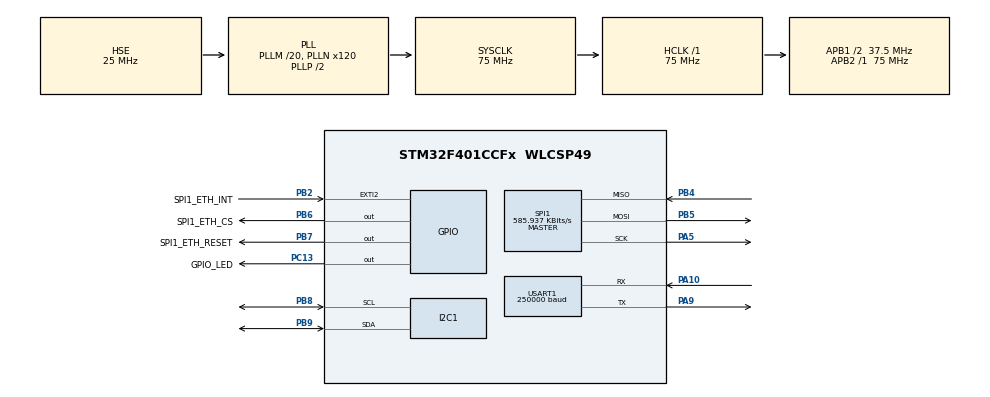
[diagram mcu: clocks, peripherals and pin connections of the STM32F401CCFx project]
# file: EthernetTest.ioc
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FREERTOS.Tasks01=defaultTask,8,1024,StartDefaultTask,Default,NULL,Static,defaultTaskBuffer,defaultTaskControlBlock;task_10ms,48,1024,StartTask_10ms,Default,NULL,Static,task_10msBuffer,task_10msControlBlock;task_Server,24,1024,StartTask_Server,Default,NULL,Static,task_ServerBuffer,task_ServerControlBlock
FREERTOS.configCHECK_FOR_STACK_OVERFLOW=1
FREERTOS.configENABLE_FPU=1
FREERTOS.configGENERATE_RUN_TIME_STATS=1
FREERTOS.configMINIMAL_STACK_SIZE=256
FREERTOS.configTOTAL_HEAP_SIZE=32000
FREERTOS.configUSE_MALLOC_FAILED_HOOK=1
FREERTOS.configUSE_NEWLIB_REENTRANT=1
FREERTOS.configUSE_PREEMPTION=1
I2C1.I2C_Mode=I2C_Fast
Mcu.Family=STM32F4
Mcu.Name=STM32F401CCFx
Mcu.Package=WLCSP49
NVIC.EXTI2_IRQn=true\:13\:0\:true\:false\:true\:true\:true\:true
NVIC.PriorityGroup=NVIC_PRIORITYGROUP_4
NVIC.TIM1_UP_TIM10_IRQn=true\:15\:0\:false\:false\:true\:false\:false\:true
NVIC.TimeBase=TIM1_UP_TIM10_IRQn
NVIC.TimeBaseIP=TIM1
PA10.Mode=Asynchronous
PA10.Signal=USART1_RX
PA13.Mode=Trace_Asynchronous_SW
PA13.Signal=SYS_JTMS-SWDIO
PA14.Mode=Trace_Asynchronous_SW
PA14.Signal=SYS_JTCK-SWCLK
PA5.Mode=Full_Duplex_Master
PA5.Signal=SPI1_SCK
PA9.Mode=Asynchronous
PA9.Signal=USART1_TX
PB2.GPIO_Label=SPI1_ETH_INT
PB2.GPIO_ModeDefaultEXTI=GPIO_MODE_IT_FALLING
PB2.Signal=GPXTI2
PB3.Mode=Trace_Asynchronous_SW
PB3.Signal=SYS_JTDO-SWO
PB4.Mode=Full_Duplex_Master
PB4.Signal=SPI1_MISO
PB5.Mode=Full_Duplex_Master
PB5.Signal=SPI1_MOSI
PB6.GPIO_Label=SPI1_ETH_CS
PB6.GPIO_Speed=GPIO_SPEED_FREQ_VERY_HIGH
PB6.Signal=GPIO_Output
PB7.GPIO_Label=SPI1_ETH_RESET
PB7.GPIO_Speed=GPIO_SPEED_FREQ_VERY_HIGH
PB7.Signal=GPIO_Output
PB8.GPIO_Pu=GPIO_NOPULL
PB8.Mode=I2C
PB8.Signal=I2C1_SCL
PB9.GPIO_Pu=GPIO_NOPULL
PB9.Mode=I2C
PB9.Signal=I2C1_SDA
PC13-ANTI_TAMP.GPIO_Label=GPIO_LED
PC13-ANTI_TAMP.GPIO_ModeDefaultOutputPP=GPIO_MODE_OUTPUT_OD
PC13-ANTI_TAMP.GPIO_PuPd=GPIO_NOPULL
PC13-ANTI_TAMP.Signal=GPIO_Output
PC14-OSC32_IN.Signal=RCC_OSC32_IN
PC15-OSC32_OUT.Signal=RCC_OSC32_OUT
PH0\ -\ OSC_IN.Mode=HSE-External-Oscillator
PH0\ -\ OSC_IN.Signal=RCC_OSC_IN
PH1\ -\ OSC_OUT.Mode=HSE-External-Oscillator
PH1\ -\ OSC_OUT.Signal=RCC_OSC_OUT
ProjectManager.HeapSize=0x200
ProjectManager.StackSize=0x400
ProjectManager.TargetToolchain=STM32CubeIDE
RCC.48MHZClocksFreq_Value=30000000
RCC.AHBFreq_Value=75000000
RCC.APB1CLKDivider=RCC_HCLK_DIV2
RCC.APB1Freq_Value=37500000
RCC.APB1TimFreq_Value=75000000
RCC.APB2Freq_Value=75000000
RCC.APB2TimFreq_Value=75000000
RCC.CortexFreq_Value=75000000
RCC.HCLKFreq_Value=75000000
RCC.HSE_VALUE=25000000
RCC.HSI_VALUE=16000000
RCC.LSE_VALUE=32768
RCC.PLLM=20
RCC.PLLN=120
RCC.PLLQ=5
RCC.PLLSourceVirtual=RCC_PLLSOURCE_HSE
RCC.SYSCLKFreq_VALUE=75000000
RCC.SYSCLKSource=RCC_SYSCLKSOURCE_PLLCLK
RCC.VCOOutputFreq_Value=150000000
SPI1.BaudRatePrescaler=SPI_BAUDRATEPRESCALER_128
SPI1.CalculateBaudRate=585.937 KBits/s
SPI1.Direction=SPI_DIRECTION_2LINES
SPI1.Mode=SPI_MODE_MASTER
SPI1.VirtualType=VM_MASTER
TIM11.Prescaler=1600-1
USART1.BaudRate=250000
USART1.VirtualMode=VM_ASYNC
VP_FREERTOS_VS_CMSIS_V2.Mode=CMSIS_V2
VP_SYS_VS_tim1.Mode=TIM1
VP_TIM11_VS_ClockSourceINT.Mode=Enable_Timer
board=custom

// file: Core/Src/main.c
/* USER CODE BEGIN Header */
/**
 ******************************************************************************
 * @file           : main.c
 * @brief          : Main program body
 ******************************************************************************
 * @attention
 *
 * Copyright (c) 2021 STMicroelectronics.
 * All rights reserved.
 *
 * This software is licensed under terms that can be found in the LICENSE file
 * in the root directory of this software component.
 * If no LICENSE file comes with this software, it is provided AS-IS.
 *
 ******************************************************************************
 */
/* USER CODE END Header */
#include "main.h"
#include "cmsis_os.h"

/* USER CODE BEGIN Includes */
#include "server.h"
#include "mpu60x0.h"
#include "fusion.h"
#include "settings.h"
#include "eeprom.h"
#include "statusLED.h"
#include "shutdown.h"
#include "w5500_inf.h"

/* USER CODE END Includes */

typedef StaticTask_t osStaticThreadDef_t;

I2C_HandleTypeDef hi2c1;

SPI_HandleTypeDef hspi1;

TIM_HandleTypeDef htim11;

UART_HandleTypeDef huart1;

/* Definitions for defaultTask */
osThreadId_t defaultTaskHandle;
uint32_t defaultTaskBuffer[ 1024 ];
osStaticThreadDef_t defaultTaskControlBlock;
const osThreadAttr_t defaultTask_attributes = {
  .name = "defaultTask",
  .cb_mem = &defaultTaskControlBlock,
  .cb_size = sizeof(defaultTaskControlBlock),
  .stack_mem = &defaultTaskBuffer[0],
  .stack_size = sizeof(defaultTaskBuffer),
  .priority = (osPriority_t) osPriorityLow,
};
/* Definitions for task_10ms */
osThreadId_t task_10msHandle;
uint32_t task_10msBuffer[ 1024 ];
osStaticThreadDef_t task_10msControlBlock;
const osThreadAttr_t task_10ms_attributes = {
  .name = "task_10ms",
  .cb_mem = &task_10msControlBlock,
  .cb_size = sizeof(task_10msControlBlock),
  .stack_mem = &task_10msBuffer[0],
  .stack_size = sizeof(task_10msBuffer),
  .priority = (osPriority_t) osPriorityRealtime,
};
/* Definitions for task_Server */
osThreadId_t task_ServerHandle;
uint32_t task_ServerBuffer[ 1024 ];
osStaticThreadDef_t task_ServerControlBlock;
const osThreadAttr_t task_Server_attributes = {
  .name = "task_Server",
  .cb_mem = &task_ServerControlBlock,
  .cb_size = sizeof(task_ServerControlBlock),
  .stack_mem = &task_ServerBuffer[0],
  .stack_size = sizeof(task_ServerBuffer),
  .priority = (osPriority_t) osPriorityNormal,
};

void SystemClock_Config(void);
static void MX_GPIO_Init(void);
static void MX_SPI1_Init(void);
static void MX_USART1_UART_Init(void);
static void MX_TIM11_Init(void);
static void MX_I2C1_Init(void);
void StartDefaultTask(void *argument);
void StartTask_10ms(void *argument);
void StartTask_Server(void *argument);

int main(void)
{

  /* MCU Configuration--------------------------------------------------------*/

  /* Reset of all peripherals, Initializes the Flash interface and the Systick. */
  HAL_Init();

  /* Configure the system clock */
  SystemClock_Config();

  /* USER CODE BEGIN SysInit */

  // Seems like I2C peripherial gets stuck in a bad state on startup sometimes. Force it into a good state.
  __HAL_RCC_I2C1_CLK_ENABLE();
    HAL_Delay(100);
    __HAL_RCC_I2C1_FORCE_RESET();
    HAL_Delay(100);
    __HAL_RCC_I2C1_RELEASE_RESET();
    HAL_Delay(100);

  /* USER CODE END SysInit */

  /* Initialize all configured peripherals */
  MX_GPIO_Init();
  MX_SPI1_Init();
  MX_USART1_UART_Init();
  MX_TIM11_Init();
  MX_I2C1_Init();
  /* USER CODE BEGIN 2 */
  RetargetInit(&huart1);
  threadSafePrintf("[MAIN] User Init Started...\n");
  statusLED_init();
  eeprom_initBlocks();
  timeInit();
  mpu60x0_init(hi2c1);
  fusion_reset();
  settings_init();
  W5500_init(&hspi1);
  serverInit();
  //mdns_init();
  threadSafePrintf("[MAIN] User Init Completed!\n");

  /* USER CODE END 2 */

  /* Init scheduler */
  osKernelInitialize();

  /* Create the thread(s) */
  /* creation of defaultTask */
  defaultTaskHandle = osThreadNew(StartDefaultTask, NULL, &defaultTask_attributes);

  /* creation of task_10ms */
  task_10msHandle = osThreadNew(StartTask_10ms, NULL, &task_10ms_attributes);

  /* creation of task_Server */
  task_ServerHandle = osThreadNew(StartTask_Server, NULL, &task_Server_attributes);

  /* Start scheduler */
  osKernelStart();

  /* We should never get here as control is now taken by the scheduler */
  /* Infinite loop */
  while (1)
  {

  }
}

void SystemClock_Config(void)
{
  RCC_OscInitTypeDef RCC_OscInitStruct = {0};
  RCC_ClkInitTypeDef RCC_ClkInitStruct = {0};

  /** Configure the main internal regulator output voltage
  */
  __HAL_RCC_PWR_CLK_ENABLE();
  __HAL_PWR_VOLTAGESCALING_CONFIG(PWR_REGULATOR_VOLTAGE_SCALE2);
  /** Initializes the RCC Oscillators according to the specified parameters
  * in the RCC_OscInitTypeDef structure.
  */
  RCC_OscInitStruct.OscillatorType = RCC_OSCILLATORTYPE_HSE;
  RCC_OscInitStruct.HSEState = RCC_HSE_ON;
  RCC_OscInitStruct.PLL.PLLState = RCC_PLL_ON;
  RCC_OscInitStruct.PLL.PLLSource = RCC_PLLSOURCE_HSE;
  RCC_OscInitStruct.PLL.PLLM = 20;
  RCC_OscInitStruct.PLL.PLLN = 120;
  RCC_OscInitStruct.PLL.PLLP = RCC_PLLP_DIV2;
  RCC_OscInitStruct.PLL.PLLQ = 5;
  if (HAL_RCC_OscConfig(&RCC_OscInitStruct) != HAL_OK)
  {
    Error_Handler();
  }
  /** Initializes the CPU, AHB and APB buses clocks
  */
  RCC_ClkInitStruct.ClockType = RCC_CLOCKTYPE_HCLK|RCC_CLOCKTYPE_SYSCLK
                              |RCC_CLOCKTYPE_PCLK1|RCC_CLOCKTYPE_PCLK2;
  RCC_ClkInitStruct.SYSCLKSource = RCC_SYSCLKSOURCE_PLLCLK;
  RCC_ClkInitStruct.AHBCLKDivider = RCC_SYSCLK_DIV1;
  RCC_ClkInitStruct.APB1CLKDivider = RCC_HCLK_DIV2;
  RCC_ClkInitStruct.APB2CLKDivider = RCC_HCLK_DIV1;

  if (HAL_RCC_ClockConfig(&RCC_ClkInitStruct, FLASH_LATENCY_2) != HAL_OK)
  {
    Error_Handler();
  }
}

static void MX_I2C1_Init(void)
{

  hi2c1.Instance = I2C1;
  hi2c1.Init.ClockSpeed = 400000;
  hi2c1.Init.DutyCycle = I2C_DUTYCYCLE_2;
  hi2c1.Init.OwnAddress1 = 0;
  hi2c1.Init.AddressingMode = I2C_ADDRESSINGMODE_7BIT;
  hi2c1.Init.DualAddressMode = I2C_DUALADDRESS_DISABLE;
  hi2c1.Init.OwnAddress2 = 0;
  hi2c1.Init.GeneralCallMode = I2C_GENERALCALL_DISABLE;
  hi2c1.Init.NoStretchMode = I2C_NOSTRETCH_DISABLE;
  if (HAL_I2C_Init(&hi2c1) != HAL_OK)
  {
    Error_Handler();
  }

}

static void MX_SPI1_Init(void)
{

  /* SPI1 parameter configuration*/
  hspi1.Instance = SPI1;
  hspi1.Init.Mode = SPI_MODE_MASTER;
  hspi1.Init.Direction = SPI_DIRECTION_2LINES;
  hspi1.Init.DataSize = SPI_DATASIZE_8BIT;
  hspi1.Init.CLKPolarity = SPI_POLARITY_LOW;
  hspi1.Init.CLKPhase = SPI_PHASE_1EDGE;
  hspi1.Init.NSS = SPI_NSS_SOFT;
  hspi1.Init.BaudRatePrescaler = SPI_BAUDRATEPRESCALER_128;
  hspi1.Init.FirstBit = SPI_FIRSTBIT_MSB;
  hspi1.Init.TIMode = SPI_TIMODE_DISABLE;
  hspi1.Init.CRCCalculation = SPI_CRCCALCULATION_DISABLE;
  hspi1.Init.CRCPolynomial = 10;
  if (HAL_SPI_Init(&hspi1) != HAL_OK)
  {
    Error_Handler();
  }

}

static void MX_TIM11_Init(void)
{

  htim11.Instance = TIM11;
  htim11.Init.Prescaler = 1600-1;
  htim11.Init.CounterMode = TIM_COUNTERMODE_UP;
  htim11.Init.Period = 65535;
  htim11.Init.ClockDivision = TIM_CLOCKDIVISION_DIV1;
  htim11.Init.AutoReloadPreload = TIM_AUTORELOAD_PRELOAD_DISABLE;
  if (HAL_TIM_Base_Init(&htim11) != HAL_OK)
  {
    Error_Handler();
  }

}

static void MX_USART1_UART_Init(void)
{

  huart1.Instance = USART1;
  huart1.Init.BaudRate = 250000;
  huart1.Init.WordLength = UART_WORDLENGTH_8B;
  huart1.Init.StopBits = UART_STOPBITS_1;
  huart1.Init.Parity = UART_PARITY_NONE;
  huart1.Init.Mode = UART_MODE_TX_RX;
  huart1.Init.HwFlowCtl = UART_HWCONTROL_NONE;
  huart1.Init.OverSampling = UART_OVERSAMPLING_16;
  if (HAL_UART_Init(&huart1) != HAL_OK)
  {
    Error_Handler();
  }

}

static void MX_GPIO_Init(void)
{
  GPIO_InitTypeDef GPIO_InitStruct = {0};

  /* GPIO Ports Clock Enable */
  __HAL_RCC_GPIOA_CLK_ENABLE();
  __HAL_RCC_GPIOB_CLK_ENABLE();
  __HAL_RCC_GPIOC_CLK_ENABLE();
  __HAL_RCC_GPIOH_CLK_ENABLE();

  /*Configure GPIO pin Output Level */
  HAL_GPIO_WritePin(GPIOB, SPI1_ETH_CS_Pin|SPI1_ETH_RESET_Pin, GPIO_PIN_RESET);

  /*Configure GPIO pin Output Level */
  HAL_GPIO_WritePin(GPIO_LED_GPIO_Port, GPIO_LED_Pin, GPIO_PIN_RESET);

  /*Configure GPIO pins : SPI1_ETH_CS_Pin SPI1_ETH_RESET_Pin */
  GPIO_InitStruct.Pin = SPI1_ETH_CS_Pin|SPI1_ETH_RESET_Pin;
  GPIO_InitStruct.Mode = GPIO_MODE_OUTPUT_PP;
  GPIO_InitStruct.Pull = GPIO_NOPULL;
  GPIO_InitStruct.Speed = GPIO_SPEED_FREQ_VERY_HIGH;
  HAL_GPIO_Init(GPIOB, &GPIO_InitStruct);

  /*Configure GPIO pin : GPIO_LED_Pin */
  GPIO_InitStruct.Pin = GPIO_LED_Pin;
  GPIO_InitStruct.Mode = GPIO_MODE_OUTPUT_OD;
  GPIO_InitStruct.Pull = GPIO_NOPULL;
  GPIO_InitStruct.Speed = GPIO_SPEED_FREQ_LOW;
  HAL_GPIO_Init(GPIO_LED_GPIO_Port, &GPIO_InitStruct);

  /*Configure GPIO pin : SPI1_ETH_INT_Pin */
  GPIO_InitStruct.Pin = SPI1_ETH_INT_Pin;
  GPIO_InitStruct.Mode = GPIO_MODE_IT_FALLING;
  GPIO_InitStruct.Pull = GPIO_NOPULL;
  HAL_GPIO_Init(SPI1_ETH_INT_GPIO_Port, &GPIO_InitStruct);

  /* EXTI interrupt init*/
  HAL_NVIC_SetPriority(EXTI2_IRQn, 13, 0);
  HAL_NVIC_EnableIRQ(EXTI2_IRQn);

}

void StartDefaultTask(void *argument)
{
  /* USER CODE BEGIN 5 */
	/* Infinite loop */
	for (;;) {
		osDelay(10);
		//mdns_update(); //currently this function blocks like foreverz so...it's here.
		//perfmon_printHeapStats();
	}
  /* USER CODE END 5 */
}

void StartTask_10ms(void *argument)
{
  /* USER CODE BEGIN StartTask_10ms */
	TickType_t xLastWakeTime;
	const TickType_t xFrequency = (TickType_t) round(0.01 * ((double) configTICK_RATE_HZ));
	xLastWakeTime = xTaskGetTickCount();

	threadSafePrintf("[MAIN] Starting 10ms task\n");
	/* Infinite loop */
	for (;;) {
		vTaskDelayUntil(&xLastWakeTime, xFrequency);
		/* 10mS Periodic Code START */
		mpu60x0_update();
		fusion_update();
		statusLED_periodic();
		/* 10mS Periodic Code END */
	}
  /* USER CODE END StartTask_10ms */
}

void StartTask_Server(void *argument)
{
  /* USER CODE BEGIN StartTask_Server */

	TickType_t xLastWakeTime;
	const TickType_t xFrequency = (TickType_t) round(0.01 * ((double) configTICK_RATE_HZ));
	xLastWakeTime = xTaskGetTickCount();
	threadSafePrintf("[MAIN] Starting Server task\n");

	/* Infinite loop */

  for(;;)
  {
	vTaskDelayUntil(&xLastWakeTime, xFrequency);
	serverUpdate();
  }
  /* USER CODE END StartTask_Server */
}

void HAL_TIM_PeriodElapsedCallback(TIM_HandleTypeDef *htim)
{
  if (htim->Instance == TIM1) {
    HAL_IncTick();
  }
}

void Error_Handler(void)
{
  /* USER CODE BEGIN Error_Handler_Debug */
	/* User can add his own implementation to report the HAL error return state */
	shutdown_restartUnExpected();
  /* USER CODE END Error_Handler_Debug */
}

#ifdef  USE_FULL_ASSERT
/**
  * @brief  Reports the name of the source file and the source line number
  *         where the assert_param error has occurred.
  * @param  file: pointer to the source file name
  * @param  line: assert_param error line source number
  * @retval None
  */
void assert_failed(uint8_t *file, uint32_t line)
{
  /* USER CODE BEGIN 6 */
  /* User can add his own implementation to report the file name and line number,
     ex: threadSafePrintf("Wrong parameters value: file %s on line %d\r\n", file, line) */
  /* USER CODE END 6 */
}
#endif /* USE_FULL_ASSERT */

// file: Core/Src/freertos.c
/* USER CODE BEGIN Header */
/**
  ******************************************************************************
  * File Name          : freertos.c
  * Description        : Code for freertos applications
  ******************************************************************************
  * @attention
  *
  * Copyright (c) 2021 STMicroelectronics.
  * All rights reserved.
  *
  * This software is licensed under terms that can be found in the LICENSE file
  * in the root directory of this software component.
  * If no LICENSE file comes with this software, it is provided AS-IS.
  *
  ******************************************************************************
  */
/* USER CODE END Header */

#include "FreeRTOS.h"
#include "task.h"
#include "main.h"

/* Hook prototypes */
void configureTimerForRunTimeStats(void);
unsigned long getRunTimeCounterValue(void);
void vApplicationStackOverflowHook(xTaskHandle xTask, signed char *pcTaskName);
void vApplicationMallocFailedHook(void);

/* USER CODE BEGIN 1 */
/* Functions needed when configGENERATE_RUN_TIME_STATS is on */
__weak void configureTimerForRunTimeStats(void)
{

}

__weak unsigned long getRunTimeCounterValue(void)
{
	return __HAL_TIM_GET_COUNTER(&htim11);
}
/* USER CODE END 1 */

/* USER CODE BEGIN 4 */
void vApplicationStackOverflowHook(xTaskHandle xTask, signed char *pcTaskName)
{
   /* Run time stack overflow checking is performed if
   configCHECK_FOR_STACK_OVERFLOW is defined to 1 or 2. This hook function is
   called if a stack overflow is detected. */
   threadSafePrintf("[FREERTOS] PANIC - Stack Overflow Detected in task %s\n", pcTaskName);
   shutdown_restartUnExpected();
}
/* USER CODE END 4 */

/* USER CODE BEGIN 5 */
void vApplicationMallocFailedHook(void)
{
   /* vApplicationMallocFailedHook() will only be called if
   configUSE_MALLOC_FAILED_HOOK is set to 1 in FreeRTOSConfig.h. It is a hook
   function that will get called if a call to pvPortMalloc() fails.
   pvPortMalloc() is called internally by the kernel whenever a task, queue,
   timer or semaphore is created. It is also called by various parts of the
   demo application. If heap_1.c or heap_2.c are used, then the size of the
   heap available to pvPortMalloc() is defined by configTOTAL_HEAP_SIZE in
   FreeRTOSConfig.h, and the xPortGetFreeHeapSize() API function can be used
   to query the size of free heap space that remains (although it does not
   provide information on how the remaining heap might be fragmented). */
   threadSafePrintf("[FREERTOS] PANIC - MALLOC Failed!\n");

}
/* USER CODE END 5 */
